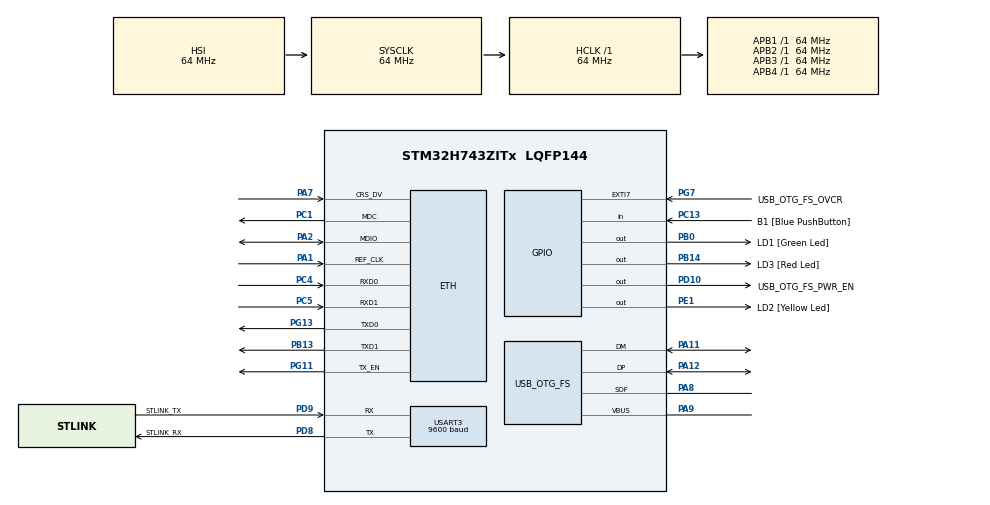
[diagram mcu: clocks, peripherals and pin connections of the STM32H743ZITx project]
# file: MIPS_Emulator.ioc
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ETH.MediaInterface=HAL_ETH_RMII_MODE
Mcu.Family=STM32H7
Mcu.Name=STM32H743ZITx
Mcu.Package=LQFP144
NVIC.PriorityGroup=NVIC_PRIORITYGROUP_4
NVIC.USART3_IRQn=true\:0\:0\:false\:false\:true\:true\:true\:true
PA1.Mode=RMII
PA1.Signal=ETH_REF_CLK
PA11.Mode=Device_Only
PA11.Signal=USB_OTG_FS_DM
PA12.Mode=Device_Only
PA12.Signal=USB_OTG_FS_DP
PA2.Mode=RMII
PA2.Signal=ETH_MDIO
PA7.Mode=RMII
PA7.Signal=ETH_CRS_DV
PA8.Mode=Activate_SOF_FS
PA8.Signal=USB_OTG_FS_SOF
PA9.Mode=Activate_VBUS
PA9.Signal=USB_OTG_FS_VBUS
PB0.GPIO_Label=LD1 [Green Led]
PB0.Signal=GPIO_Output
PB13.Mode=RMII
PB13.Signal=ETH_TXD1
PB14.GPIO_Label=LD3 [Red Led]
PB14.Signal=GPIO_Output
PC1.Mode=RMII
PC1.Signal=ETH_MDC
PC13.GPIO_Label=B1 [Blue PushButton]
PC13.Signal=GPIO_Input
PC14-OSC32_IN\ (OSC32_IN).Mode=LSE-External-Oscillator
PC14-OSC32_IN\ (OSC32_IN).Signal=RCC_OSC32_IN
PC15-OSC32_OUT\ (OSC32_OUT).Mode=LSE-External-Oscillator
PC15-OSC32_OUT\ (OSC32_OUT).Signal=RCC_OSC32_OUT
PC4.Mode=RMII
PC4.Signal=ETH_RXD0
PC5.Mode=RMII
PC5.Signal=ETH_RXD1
PD10.GPIO_Label=USB_OTG_FS_PWR_EN
PD10.Signal=GPIO_Output
PD8.GPIO_Label=STLINK_RX
PD8.Mode=Asynchronous
PD8.Signal=USART3_TX
PD9.GPIO_Label=STLINK_TX
PD9.Mode=Asynchronous
PD9.Signal=USART3_RX
PE1.GPIO_Label=LD2 [Yellow Led]
PE1.Signal=GPIO_Output
PG11.Mode=RMII
PG11.Signal=ETH_TX_EN
PG13.Mode=RMII
PG13.Signal=ETH_TXD0
PG7.GPIO_Label=USB_OTG_FS_OVCR
PG7.Signal=GPXTI7
PH0-OSC_IN\ (PH0).Mode=HSE-External-Clock-Source
PH0-OSC_IN\ (PH0).Signal=RCC_OSC_IN
PH1-OSC_OUT\ (PH1).Signal=RCC_OSC_OUT
ProjectManager.HeapSize=0x200
ProjectManager.StackSize=0x400
ProjectManager.TargetToolchain=STM32CubeIDE
RCC.ADCFreq_Value=16125000
RCC.APB1Freq_Value=64000000
RCC.APB2Freq_Value=64000000
RCC.APB3Freq_Value=64000000
RCC.APB4Freq_Value=64000000
RCC.CortexFreq_Value=64000000
RCC.DIVM1=1
RCC.DIVN1=24
RCC.DIVQ1=4
RCC.HCLKFreq_Value=64000000
RCC.HSE_VALUE=8000000
RCC.PLLFRACN=0
RCC.PWR_Regulator_Voltage_Scale=PWR_REGULATOR_VOLTAGE_SCALE2
RCC.SYSCLKFreq_VALUE=64000000
RCC.USBFreq_Value=48000000
USART3.BaudRate=9600
USART3.VirtualMode-Asynchronous=VM_ASYNC
USB_OTG_FS.VirtualMode=Device_Only
board=NUCLEO-H743ZI2

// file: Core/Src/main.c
/* USER CODE BEGIN Header */
/**
  ******************************************************************************
  * @file           : main.c
  * @brief          : Main program body
  ******************************************************************************
  * @attention
  *
  * Copyright (c) 2022 STMicroelectronics.
  * All rights reserved.
  *
  * This software is licensed under terms that can be found in the LICENSE file
  * in the root directory of this software component.
  * If no LICENSE file comes with this software, it is provided AS-IS.
  *
  ******************************************************************************
  */
/* USER CODE END Header */
#include "main.h"
#include "string.h"

/* USER CODE BEGIN Includes */
#include "uart.h"
#include "mips.h"
/* USER CODE END Includes */

#if defined ( __ICCARM__ ) /*!< IAR Compiler */
#pragma location=0x30000000
ETH_DMADescTypeDef  DMARxDscrTab[ETH_RX_DESC_CNT]; /* Ethernet Rx DMA Descriptors */
#pragma location=0x30000200
ETH_DMADescTypeDef  DMATxDscrTab[ETH_TX_DESC_CNT]; /* Ethernet Tx DMA Descriptors */

#elif defined ( __CC_ARM )  /* MDK ARM Compiler */

__attribute__((at(0x30000000))) ETH_DMADescTypeDef  DMARxDscrTab[ETH_RX_DESC_CNT]; /* Ethernet Rx DMA Descriptors */
__attribute__((at(0x30000200))) ETH_DMADescTypeDef  DMATxDscrTab[ETH_TX_DESC_CNT]; /* Ethernet Tx DMA Descriptors */

#elif defined ( __GNUC__ ) /* GNU Compiler */
ETH_DMADescTypeDef DMARxDscrTab[ETH_RX_DESC_CNT] __attribute__((section(".RxDecripSection"))); /* Ethernet Rx DMA Descriptors */
ETH_DMADescTypeDef DMATxDscrTab[ETH_TX_DESC_CNT] __attribute__((section(".TxDecripSection")));   /* Ethernet Tx DMA Descriptors */

#endif

ETH_TxPacketConfig TxConfig;

ETH_HandleTypeDef heth;

UART_HandleTypeDef huart3;

PCD_HandleTypeDef hpcd_USB_OTG_FS;

void SystemClock_Config(void);
static void MX_GPIO_Init(void);
static void MX_ETH_Init(void);
static void MX_USART3_UART_Init(void);
static void MX_USB_OTG_FS_PCD_Init(void);

/* USER CODE BEGIN 0 */
char temp;
char writeStr[50];
int buffer_index = 0;
char buffer[MAX_BUFFER_SIZE] = {'0'};
int receive_flag = 0;
char cmdStr[] = "";
void HAL_UART_RxCpltCallback(UART_HandleTypeDef *huart)
{
	//HAL_UART_Transmit(&huart3, &temp, 1, 1000);
	buffer[buffer_index] = temp;
	receive_flag = receive_flag + 1;
	//HAL_UART_Transmit(&huart3, writeStr, sprintf(writeStr, "%d", receive_flag), 1000);
	buffer_index++;
	if (buffer_index >= MAX_BUFFER_SIZE) buffer_index = 0;
	HAL_UART_Receive_IT(&huart3, &temp, 1);
}
/* USER CODE END 0 */

int main(void)
{

  /* MCU Configuration--------------------------------------------------------*/

  /* Reset of all peripherals, Initializes the Flash interface and the Systick. */
  HAL_Init();

  /* Configure the system clock */
  SystemClock_Config();

  /* Initialize all configured peripherals */
  MX_GPIO_Init();
  MX_ETH_Init();
  MX_USART3_UART_Init();
  MX_USB_OTG_FS_PCD_Init();

  /* Infinite loop */
  /* USER CODE BEGIN WHILE */
  //HAL_UART_Transmit(&huart3, "HELLO", 5, 1000);
  HAL_UART_Receive_IT(&huart3, &temp, 1);

  while (1)
  {
	  HAL_GPIO_WritePin(LD3_GPIO_Port, LD3_Pin, 1);
	  if (receive_flag > 0)
	  {
		  //HAL_UART_Transmit(&huart3, writeStr, sprintf(writeStr, "%d", receive_flag), 1000);
		  //HAL_GPIO_WritePin(LD3_GPIO_Port, LD3_Pin, 0);
		  receive_flag--;
		  command_parser();
	  }
	  uart_communication(&huart3);
	  emulator(&huart3);
    /* USER CODE END WHILE */

  }
}

void SystemClock_Config(void)
{
  RCC_OscInitTypeDef RCC_OscInitStruct = {0};
  RCC_ClkInitTypeDef RCC_ClkInitStruct = {0};

  /** Supply configuration update enable
  */
  HAL_PWREx_ConfigSupply(PWR_LDO_SUPPLY);

  /** Configure the main internal regulator output voltage
  */
  __HAL_PWR_VOLTAGESCALING_CONFIG(PWR_REGULATOR_VOLTAGE_SCALE2);

  while(!__HAL_PWR_GET_FLAG(PWR_FLAG_VOSRDY)) {}

  /** Initializes the RCC Oscillators according to the specified parameters
  * in the RCC_OscInitTypeDef structure.
  */
  RCC_OscInitStruct.OscillatorType = RCC_OSCILLATORTYPE_HSI|RCC_OSCILLATORTYPE_HSE;
  RCC_OscInitStruct.HSEState = RCC_HSE_BYPASS;
  RCC_OscInitStruct.HSIState = RCC_HSI_DIV1;
  RCC_OscInitStruct.HSICalibrationValue = RCC_HSICALIBRATION_DEFAULT;
  RCC_OscInitStruct.PLL.PLLState = RCC_PLL_ON;
  RCC_OscInitStruct.PLL.PLLSource = RCC_PLLSOURCE_HSE;
  RCC_OscInitStruct.PLL.PLLM = 1;
  RCC_OscInitStruct.PLL.PLLN = 24;
  RCC_OscInitStruct.PLL.PLLP = 2;
  RCC_OscInitStruct.PLL.PLLQ = 4;
  RCC_OscInitStruct.PLL.PLLR = 2;
  RCC_OscInitStruct.PLL.PLLRGE = RCC_PLL1VCIRANGE_3;
  RCC_OscInitStruct.PLL.PLLVCOSEL = RCC_PLL1VCOWIDE;
  RCC_OscInitStruct.PLL.PLLFRACN = 0;
  if (HAL_RCC_OscConfig(&RCC_OscInitStruct) != HAL_OK)
  {
    Error_Handler();
  }

  /** Initializes the CPU, AHB and APB buses clocks
  */
  RCC_ClkInitStruct.ClockType = RCC_CLOCKTYPE_HCLK|RCC_CLOCKTYPE_SYSCLK
                              |RCC_CLOCKTYPE_PCLK1|RCC_CLOCKTYPE_PCLK2
                              |RCC_CLOCKTYPE_D3PCLK1|RCC_CLOCKTYPE_D1PCLK1;
  RCC_ClkInitStruct.SYSCLKSource = RCC_SYSCLKSOURCE_HSI;
  RCC_ClkInitStruct.SYSCLKDivider = RCC_SYSCLK_DIV1;
  RCC_ClkInitStruct.AHBCLKDivider = RCC_HCLK_DIV1;
  RCC_ClkInitStruct.APB3CLKDivider = RCC_APB3_DIV1;
  RCC_ClkInitStruct.APB1CLKDivider = RCC_APB1_DIV1;
  RCC_ClkInitStruct.APB2CLKDivider = RCC_APB2_DIV1;
  RCC_ClkInitStruct.APB4CLKDivider = RCC_APB4_DIV1;

  if (HAL_RCC_ClockConfig(&RCC_ClkInitStruct, FLASH_LATENCY_1) != HAL_OK)
  {
    Error_Handler();
  }
}

static void MX_ETH_Init(void)
{

   static uint8_t MACAddr[6];

  heth.Instance = ETH;
  MACAddr[0] = 0x00;
  MACAddr[1] = 0x80;
  MACAddr[2] = 0xE1;
  MACAddr[3] = 0x00;
  MACAddr[4] = 0x00;
  MACAddr[5] = 0x00;
  heth.Init.MACAddr = &MACAddr[0];
  heth.Init.MediaInterface = HAL_ETH_RMII_MODE;
  heth.Init.TxDesc = DMATxDscrTab;
  heth.Init.RxDesc = DMARxDscrTab;
  heth.Init.RxBuffLen = 1524;

  if (HAL_ETH_Init(&heth) != HAL_OK)
  {
    Error_Handler();
  }

  memset(&TxConfig, 0 , sizeof(ETH_TxPacketConfig));
  TxConfig.Attributes = ETH_TX_PACKETS_FEATURES_CSUM | ETH_TX_PACKETS_FEATURES_CRCPAD;
  TxConfig.ChecksumCtrl = ETH_CHECKSUM_IPHDR_PAYLOAD_INSERT_PHDR_CALC;
  TxConfig.CRCPadCtrl = ETH_CRC_PAD_INSERT;

}

static void MX_USART3_UART_Init(void)
{

  huart3.Instance = USART3;
  huart3.Init.BaudRate = 9600;
  huart3.Init.WordLength = UART_WORDLENGTH_8B;
  huart3.Init.StopBits = UART_STOPBITS_1;
  huart3.Init.Parity = UART_PARITY_NONE;
  huart3.Init.Mode = UART_MODE_TX_RX;
  huart3.Init.HwFlowCtl = UART_HWCONTROL_NONE;
  huart3.Init.OverSampling = UART_OVERSAMPLING_16;
  huart3.Init.OneBitSampling = UART_ONE_BIT_SAMPLE_DISABLE;
  huart3.Init.ClockPrescaler = UART_PRESCALER_DIV1;
  huart3.AdvancedInit.AdvFeatureInit = UART_ADVFEATURE_NO_INIT;
  if (HAL_UART_Init(&huart3) != HAL_OK)
  {
    Error_Handler();
  }
  if (HAL_UARTEx_SetTxFifoThreshold(&huart3, UART_TXFIFO_THRESHOLD_1_8) != HAL_OK)
  {
    Error_Handler();
  }
  if (HAL_UARTEx_SetRxFifoThreshold(&huart3, UART_RXFIFO_THRESHOLD_1_8) != HAL_OK)
  {
    Error_Handler();
  }
  if (HAL_UARTEx_DisableFifoMode(&huart3) != HAL_OK)
  {
    Error_Handler();
  }

}

static void MX_USB_OTG_FS_PCD_Init(void)
{

  hpcd_USB_OTG_FS.Instance = USB_OTG_FS;
  hpcd_USB_OTG_FS.Init.dev_endpoints = 9;
  hpcd_USB_OTG_FS.Init.speed = PCD_SPEED_FULL;
  hpcd_USB_OTG_FS.Init.dma_enable = DISABLE;
  hpcd_USB_OTG_FS.Init.phy_itface = PCD_PHY_EMBEDDED;
  hpcd_USB_OTG_FS.Init.Sof_enable = ENABLE;
  hpcd_USB_OTG_FS.Init.low_power_enable = DISABLE;
  hpcd_USB_OTG_FS.Init.lpm_enable = DISABLE;
  hpcd_USB_OTG_FS.Init.battery_charging_enable = ENABLE;
  hpcd_USB_OTG_FS.Init.vbus_sensing_enable = ENABLE;
  hpcd_USB_OTG_FS.Init.use_dedicated_ep1 = DISABLE;
  if (HAL_PCD_Init(&hpcd_USB_OTG_FS) != HAL_OK)
  {
    Error_Handler();
  }

}

static void MX_GPIO_Init(void)
{
  GPIO_InitTypeDef GPIO_InitStruct = {0};

  /* GPIO Ports Clock Enable */
  __HAL_RCC_GPIOC_CLK_ENABLE();
  __HAL_RCC_GPIOH_CLK_ENABLE();
  __HAL_RCC_GPIOA_CLK_ENABLE();
  __HAL_RCC_GPIOB_CLK_ENABLE();
  __HAL_RCC_GPIOD_CLK_ENABLE();
  __HAL_RCC_GPIOG_CLK_ENABLE();
  __HAL_RCC_GPIOE_CLK_ENABLE();

  /*Configure GPIO pin Output Level */
  HAL_GPIO_WritePin(GPIOB, LD1_Pin|LD3_Pin, GPIO_PIN_RESET);

  /*Configure GPIO pin Output Level */
  HAL_GPIO_WritePin(USB_OTG_FS_PWR_EN_GPIO_Port, USB_OTG_FS_PWR_EN_Pin, GPIO_PIN_RESET);

  /*Configure GPIO pin Output Level */
  HAL_GPIO_WritePin(LD2_GPIO_Port, LD2_Pin, GPIO_PIN_RESET);

  /*Configure GPIO pin : B1_Pin */
  GPIO_InitStruct.Pin = B1_Pin;
  GPIO_InitStruct.Mode = GPIO_MODE_INPUT;
  GPIO_InitStruct.Pull = GPIO_NOPULL;
  HAL_GPIO_Init(B1_GPIO_Port, &GPIO_InitStruct);

  /*Configure GPIO pins : LD1_Pin LD3_Pin */
  GPIO_InitStruct.Pin = LD1_Pin|LD3_Pin;
  GPIO_InitStruct.Mode = GPIO_MODE_OUTPUT_PP;
  GPIO_InitStruct.Pull = GPIO_NOPULL;
  GPIO_InitStruct.Speed = GPIO_SPEED_FREQ_LOW;
  HAL_GPIO_Init(GPIOB, &GPIO_InitStruct);

  /*Configure GPIO pin : USB_OTG_FS_PWR_EN_Pin */
  GPIO_InitStruct.Pin = USB_OTG_FS_PWR_EN_Pin;
  GPIO_InitStruct.Mode = GPIO_MODE_OUTPUT_PP;
  GPIO_InitStruct.Pull = GPIO_NOPULL;
  GPIO_InitStruct.Speed = GPIO_SPEED_FREQ_LOW;
  HAL_GPIO_Init(USB_OTG_FS_PWR_EN_GPIO_Port, &GPIO_InitStruct);

  /*Configure GPIO pin : USB_OTG_FS_OVCR_Pin */
  GPIO_InitStruct.Pin = USB_OTG_FS_OVCR_Pin;
  GPIO_InitStruct.Mode = GPIO_MODE_IT_RISING;
  GPIO_InitStruct.Pull = GPIO_NOPULL;
  HAL_GPIO_Init(USB_OTG_FS_OVCR_GPIO_Port, &GPIO_InitStruct);

  /*Configure GPIO pin : LD2_Pin */
  GPIO_InitStruct.Pin = LD2_Pin;
  GPIO_InitStruct.Mode = GPIO_MODE_OUTPUT_PP;
  GPIO_InitStruct.Pull = GPIO_NOPULL;
  GPIO_InitStruct.Speed = GPIO_SPEED_FREQ_LOW;
  HAL_GPIO_Init(LD2_GPIO_Port, &GPIO_InitStruct);

}

void Error_Handler(void)
{
  __disable_irq();
  while (1)
  {
  }
}
